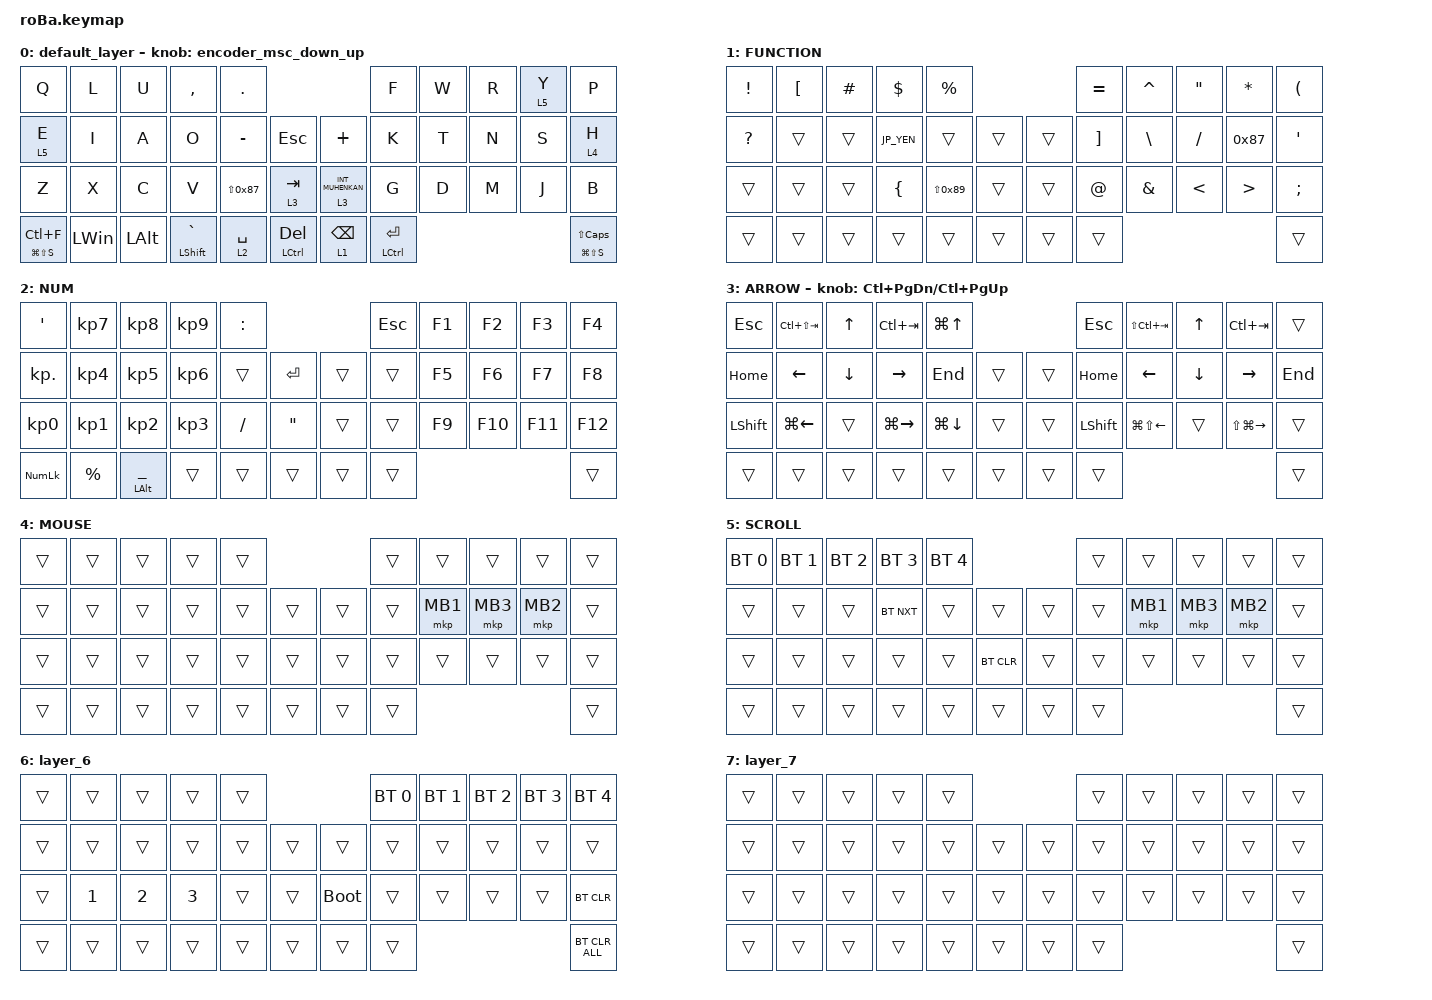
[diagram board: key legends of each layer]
// OS設定を日本語キーボードのまま使用するための変換定義

#define ZMK_POINTING_DEFAULT_SCRL_VAL 80

#define JP_DQUOTE       AT                // "
#define JP_AMPERSAND    CARET             // &
#define JP_QUOTE        AMPERSAND         // '
#define JP_EQUAL        UNDER             // =
#define JP_CARET        EQUAL             // ^
#define JP_YEN          0x89              // ¥
#define JP_PLUS         COLON             // +
#define JP_TILDE        PLUS              // ~
#define JP_PIPE         LS(0x89)          // |
#define JP_AT           LEFT_BRACKET      // @
#define JP_COLON        SINGLE_QUOTE      // :
#define JP_ASTERISK     DOUBLE_QUOTES     // *a
#define JP_BACKQUOTE    LEFT_BRACE        // `
#define JP_UNDERSCORE   LS(0x87)          // _
#define JP_LBRACKET     RIGHT_BRACKET     // [
#define JP_RBRACKET     BACKSLASH         // ]
#define JP_LPAREN       ASTERISK          // (
#define JP_RPAREN       LEFT_PARENTHESIS  // )
#define JP_LBRACE       RIGHT_BRACE       // {
#define JP_RBRACE       PIPE              // }
#define JP_KANA         LANGUAGE_1        // かな
#define JP_EISU         LANGUAGE_2        // 英数
#define JP_HANZEN       GRAVE             // 半角/全角

#include <behaviors.dtsi>
#include <dt-bindings/zmk/bt.h>
#include <dt-bindings/zmk/keys.h>
#include <dt-bindings/zmk/pointing.h>

&mt {
    flavor = "balanced";
    quick-tap-ms = <150>;
    tapping-term-ms = <150>;
};

&lt {
    flavor = "balanced";
    quick-tap-ms = <150>;
    tapping-term-ms = <150>;
};

&trackball {
    automouse-layer = <4>;
    scroll-layers = <5>;

    // arrows {
    //     layers = <3>;
    //     bindings =
    //         <&kp RIGHT_ARROW>,
    //         <&kp LEFT_ARROW>,
    //         <&kp UP_ARROW>,
    //         <&kp DOWN_ARROW>;
    //     tick = <10>;
    //     wait-ms = <5>;
    //     tap-ms = <5>;
    // };
};

/ {
    combos {
        compatible = "zmk,combos";

        tab {
            bindings = <&kp TAB>;
            key-positions = <11 12>;
        };

        shift_tab {
            bindings = <&kp LS(TAB)>;
            key-positions = <12 13>;
        };

        muhennkann {
            bindings = <&to_layer_0 INT_MUHENKAN>;
            key-positions = <11 10>;
        };

        double_quotation {
            bindings = <&kp DOUBLE_QUOTES>;
            key-positions = <20 21>;
        };

        eq {
            bindings = <&kp EQUAL>;
            key-positions = <24 25>;
        };
    };

    macros {
        to_layer_0: to_layer_0 {
            compatible = "zmk,behavior-macro-one-param";
            #binding-cells = <1>;
            bindings = <&to 0 &macro_param_1to1 &kp MACRO_PLACEHOLDER>;
            label = "TO_LAYER_0";
        };
    };

    behaviors {
        lt_to_layer_0: lt_to_layer_0 {
            compatible = "zmk,behavior-hold-tap";
            label = "LAYER_TAP_TO_0";
            bindings = <&mo>, <&to_layer_0>;

            #binding-cells = <2>;
            tapping-term-ms = <200>;
        };

        lt_hold: lt_hold {
            compatible = "zmk,behavior-hold-tap";
            label = "LT_HOLD";
            flavor = "hold-preferred";
            quick-tap-ms = <150>;
            tapping-term-ms = <150>;
            bindings = <&mo>, <&kp>;

            #binding-cells = <2>;
        };

        encoder_msc_down_up: encoder_msc_down_up {
            compatible = "zmk,behavior-sensor-rotate";
            label = "ENCODER_MSC_DOWN_UP";
            #sensor-binding-cells = <0>;
            bindings = <&msc LC(SCRL_DOWN)>, <&msc LC(SCRL_UP)>;
            tap-ms = <20>;
        };
    };

    keymap {
        compatible = "zmk,keymap";

        default_layer {
            bindings = <
&kp Q                &kp L         &kp U         &kp COMMA             &kp PERIOD                                                      &kp F            &kp W  &kp R   &lt_hold 5 Y    &kp P
&lt 5 E              &kp I         &kp A         &kp O                 &kp MINUS           &kp ESC            &kp JP_TILDE             &kp K            &kp T  &kp N   &kp S           &lt_hold 4 H
&kp Z                &kp X         &kp C         &kp V                 &kp JP_UNDERSCORE   &lt_hold 3 TAB     &lt_hold 3 INT_MUHENKAN  &kp G            &kp D  &kp M   &kp J           &kp B
&mt LG(LS(S)) LC(F)  &kp LEFT_WIN  &kp LEFT_ALT  &mt LEFT_SHIFT GRAVE  &lt_hold 2 SPACE    &mt LCTRL DEL      &lt 1 BACKSPACE          &mt LCTRL ENTER                                 &mt LG(LS(S)) LS(CAPSLOCK)
            >;

            sensor-bindings = <&encoder_msc_down_up>;
        };

        FUNCTION {
            bindings = <
&kp EXCLAMATION  &kp JP_AT  &kp HASH  &kp DOLLAR        &kp PERCENT                      &kp JP_CARET     &kp JP_AMPERSAND  &kp JP_ASTERISK  &kp JP_LPAREN      &kp JP_RPAREN
&kp QUESTION     &trans     &trans    &kp JP_YEN        &trans       &trans      &trans  &kp JP_LBRACKET  &kp JP_RBRACKET   &kp SLASH        &kp 0x87           &kp JP_COLON
&trans           &trans     &trans    &kp JP_BACKQUOTE  &kp JP_PIPE  &trans      &trans  &kp JP_DQUOTE    &kp JP_QUOTE      &kp LESS_THAN    &kp GREATER_THAN   &kp SEMICOLON
&trans           &trans     &trans    &trans            &trans       &trans      &trans  &trans                                                                 &trans
            >;
        };

        NUM {
            bindings = <
&kp JP_COLON    &kp KP_NUMBER_7  &kp KP_NUMBER_8        &kp KP_NUMBER_9  &kp JP_PLUS                               &kp ESC  &kp F1  &kp F2   &kp F3   &kp F4
&kp KP_DOT      &kp KP_NUMBER_4  &kp KP_NUMBER_5        &kp KP_NUMBER_6  &trans       &kp ENTER            &trans  &trans   &kp F5  &kp F6   &kp F7   &kp F8
&kp KP_NUMBER_0 &kp KP_NUMBER_1  &kp KP_NUMBER_2        &kp KP_NUMBER_3  &kp SLASH    &kp JP_ASTERISK      &trans  &trans   &kp F9  &kp F10  &kp F11  &kp F12
&kp KP_NUMLOCK  &kp PERCENT      &mt LEFT_ALT JP_EQUAL  &trans           &trans       &trans               &trans  &trans                             &trans
            >;
        };

        ARROW {
            bindings = <
&kp ESCAPE      &kp LC(LS(TAB))         &kp UP_ARROW    &kp LC(TAB)            &kp LG(UP_ARROW)                          &kp ESC         &kp LS(LC(TAB))         &kp UP_ARROW    &kp LC(TAB)              &trans
&kp HOME        &kp LEFT_ARROW          &kp DOWN_ARROW  &kp RIGHT_ARROW        &kp END               &trans      &trans  &kp HOME        &kp LEFT_ARROW          &kp DOWN_ARROW  &kp RIGHT_ARROW          &kp END
&kp LEFT_SHIFT  &kp LG(LEFT_ARROW)      &trans          &kp LG(RIGHT_ARROW)    &kp LG(DOWN_ARROW)    &trans      &trans  &kp LEFT_SHIFT  &kp LG(LS(LEFT_ARROW))  &trans          &kp LS(LG(RIGHT_ARROW))  &trans
&trans          &trans                  &trans          &trans                 &trans                &trans      &trans  &trans                                                                           &trans
            >;

            sensor-bindings = <&inc_dec_kp LC(PAGE_DOWN) LC(PAGE_UP)>;
        };

        MOUSE {
            bindings = <
&trans  &trans  &trans  &trans  &trans                      &trans  &trans    &trans    &trans    &trans
&trans  &trans  &trans  &trans  &trans  &trans      &trans  &trans  &mkp MB1  &mkp MB3  &mkp MB2  &trans
&trans  &trans  &trans  &trans  &trans  &trans      &trans  &trans  &trans    &trans    &trans    &trans
&trans  &trans  &trans  &trans  &trans  &trans      &trans  &trans                                &trans
            >;
        };

        SCROLL {
            bindings = <
&bt BT_SEL 0  &bt BT_SEL 1  &bt BT_SEL 2  &bt BT_SEL 3  &bt BT_SEL 4                          &trans  &trans    &trans    &trans    &trans
&trans        &trans        &trans        &bt BT_NXT    &trans        &trans          &trans  &trans  &mkp MB1  &mkp MB3  &mkp MB2  &trans
&trans        &trans        &trans        &trans        &trans        &bt BT_CLR      &trans  &trans  &trans    &trans    &trans    &trans
&trans        &trans        &trans        &trans        &trans        &trans          &trans  &trans                                &trans
            >;
        };

        layer_6 {
            bindings = <
&trans  &trans        &trans        &trans        &trans                           &bt BT_SEL 0  &bt BT_SEL 1  &bt BT_SEL 2  &bt BT_SEL 3  &bt BT_SEL 4
&trans  &trans        &trans        &trans        &trans  &trans      &trans       &trans        &trans        &trans        &trans        &trans
&trans  &kp NUMBER_1  &kp NUMBER_2  &kp NUMBER_3  &trans  &trans      &bootloader  &trans        &trans        &trans        &trans        &bt BT_CLR
&trans  &trans        &trans        &trans        &trans  &trans      &trans       &trans                                                  &bt BT_CLR_ALL
            >;
        };

        layer_7 {
            bindings = <
&trans  &trans  &trans  &trans  &trans                      &trans  &trans  &trans  &trans  &trans
&trans  &trans  &trans  &trans  &trans  &trans      &trans  &trans  &trans  &trans  &trans  &trans
&trans  &trans  &trans  &trans  &trans  &trans      &trans  &trans  &trans  &trans  &trans  &trans
&trans  &trans  &trans  &trans  &trans  &trans      &trans  &trans                          &trans
            >;
        };
    };
};
